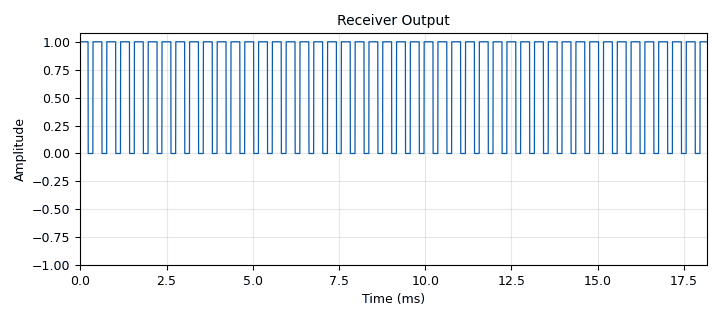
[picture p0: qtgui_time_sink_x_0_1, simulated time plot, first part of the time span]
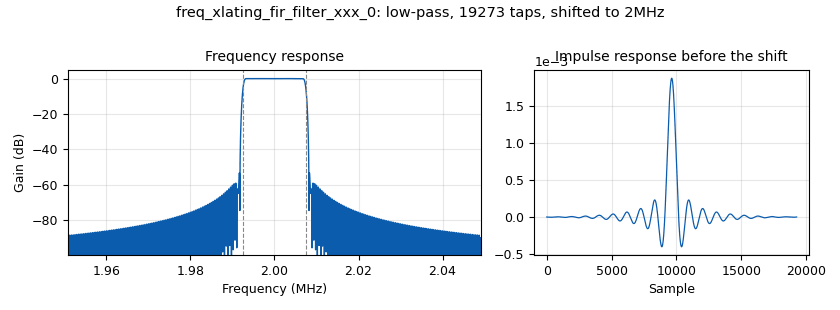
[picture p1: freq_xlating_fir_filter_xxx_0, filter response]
options:
  parameters:
    generate_options: qt_gui
    id: fsk_tx_rx
    output_language: python
    title: fsk transmission and receiver
  states: {}

blocks:
- name: center_freq
  id: variable
  parameters:
    value: 313e6
  states: {}
- name: filter_cutoff
  id: variable
  parameters:
    value: 75e2
  states: {}
- name: filter_transition
  id: variable
  parameters:
    value: 1e3
  states: {}
- name: freq
  id: variable_qtgui_entry
  parameters:
    type: raw
    value: 315e6
  states: {}
- name: fsk_deviation_hz
  id: variable_qtgui_range
  parameters:
    start: 1e3
    step: 5e3
    stop: 200e3
    value: 10e3
  states: {}
- name: gain
  id: variable
  parameters:
    value: 1e3
  states: {}
- name: samp_rate
  id: variable
  parameters:
    value: 8e6
  states: {}
- name: threshold
  id: variable_qtgui_entry
  parameters:
    type: raw
    value: '500e-3'
  states: {}
- name: working_samp_rate
  id: variable
  parameters:
    value: 400e3
  states: {}
- name: analog_frequency_modulator_fc_0
  id: analog_frequency_modulator_fc
  parameters:
    sensitivity: (2*math.pi*fsk_deviation_hz/2)/samp_rate
  states: {}
- name: analog_quadrature_demod_cf_0
  id: analog_quadrature_demod_cf
  parameters:
    gain: working_samp_rate/(2*math.pi*fsk_deviation_hz/2)
  states: {}
- name: analog_sig_source_x_0
  id: analog_sig_source_x
  parameters:
    amp: 1e3
    freq: 2e6
    offset: '0'
    phase: '0'
    samp_rate: samp_rate
    type: complex
    waveform: analog.GR_COS_WAVE
  states: {}
- name: blocks_add_const_vxx_0_0
  id: blocks_add_const_vxx
  parameters:
    const: '-1*threshold'
    type: float
  states: {}
- name: blocks_multiply_xx_0
  id: blocks_multiply_xx
  parameters:
    type: complex
  states: {}
- name: blocks_repeat_0
  id: blocks_repeat
  parameters:
    interp: '800'
    type: float
  states: {}
- name: blocks_throttle2_0
  id: blocks_throttle2
  parameters:
    samples_per_second: samp_rate
    type: complex
  states: {}
- name: blocks_uchar_to_float_0
  id: blocks_uchar_to_float
  parameters: {}
  states: {}
- name: blocks_vector_source_x_0
  id: blocks_vector_source_x
  parameters:
    repeat: 'True'
    type: float
    vector: (-1, 1, 1, 1, -1, 1, 1, 1)
  states: {}
- name: digital_binary_slicer_fb_0
  id: digital_binary_slicer_fb
  parameters: {}
  states: {}
- name: freq_xlating_fir_filter_xxx_0
  id: freq_xlating_fir_filter_xxx
  parameters:
    center_freq: 2e6
    decim: '20'
    samp_rate: samp_rate
    taps: firdes.low_pass(1, samp_rate, filter_cutoff, filter_transition)
    type: ccc
  states: {}
- name: import_0
  id: import
  parameters:
    imports: import math
  states: {}
- name: qtgui_time_sink_x_0
  id: qtgui_time_sink_x
  parameters:
    autoscale: 'True'
    grid: 'True'
    size: '16384'
    srate: samp_rate
    type: float
  states: {state: disabled}
- name: qtgui_time_sink_x_0_0
  id: qtgui_time_sink_x
  parameters:
    autoscale: 'True'
    grid: 'True'
    name: '"Demodulator Ouput"'
    size: '1024'
    srate: working_samp_rate
    type: float
  states: {state: disabled}
- name: qtgui_time_sink_x_0_1
  id: qtgui_time_sink_x
  parameters:
    ctrlpanel: 'True'
    name: '"Receiver Output"'
    size: '16384'
    srate: working_samp_rate
    type: float
  states: {}
- name: qtgui_time_sink_x_0_2
  id: qtgui_time_sink_x
  parameters:
    autoscale: 'True'
    ctrlpanel: 'True'
    grid: 'True'
    name: '"IQ Signals"'
    size: '16384'
    srate: samp_rate
    type: complex
  states: {state: disabled}
- name: qtgui_time_sink_x_0_2_0
  id: qtgui_time_sink_x
  parameters:
    autoscale: 'True'
    ctrlpanel: 'True'
    grid: 'True'
    size: '16384'
    srate: samp_rate
    type: complex
  states: {state: disabled}
- name: qtgui_waterfall_sink_x_0
  id: qtgui_waterfall_sink_x
  parameters:
    bw: samp_rate
    fc: '0'
    fftsize: '1024'
    name: '"Modulated Signal"'
    showports: 'True'
    type: complex
  states: {state: disabled}
- name: qtgui_waterfall_sink_x_0_0
  id: qtgui_waterfall_sink_x
  parameters:
    bw: working_samp_rate
    fc: '0'
    fftsize: '1024'
    name: '"Demodulated and Filtered"'
    showports: 'True'
    type: complex
  states: {state: disabled}
- name: virtual_sink_0
  id: virtual_sink
  parameters:
    stream_id: var
  states: {}
- name: virtual_sink_0_0
  id: virtual_sink
  parameters:
    stream_id: signal
  states: {}
- name: virtual_source_0
  id: virtual_source
  parameters:
    stream_id: var
  states: {}
- name: virtual_source_0_1
  id: virtual_source
  parameters:
    stream_id: signal
  states: {}

connections:
- [analog_frequency_modulator_fc_0, '0', blocks_multiply_xx_0, '0']
- [analog_frequency_modulator_fc_0, '0', qtgui_time_sink_x_0_2, '0']
- [analog_quadrature_demod_cf_0, '0', qtgui_time_sink_x_0_0, '0']
- [analog_quadrature_demod_cf_0, '0', virtual_sink_0_0, '0']
- [analog_sig_source_x_0, '0', blocks_throttle2_0, '0']
- [blocks_add_const_vxx_0_0, '0', digital_binary_slicer_fb_0, '0']
- [blocks_multiply_xx_0, '0', qtgui_time_sink_x_0_2_0, '0']
- [blocks_multiply_xx_0, '0', qtgui_waterfall_sink_x_0, '0']
- [blocks_multiply_xx_0, '0', virtual_sink_0, '0']
- [blocks_repeat_0, '0', analog_frequency_modulator_fc_0, '0']
- [blocks_repeat_0, '0', qtgui_time_sink_x_0, '0']
- [blocks_throttle2_0, '0', blocks_multiply_xx_0, '1']
- [blocks_uchar_to_float_0, '0', qtgui_time_sink_x_0_1, '0']
- [blocks_vector_source_x_0, '0', blocks_repeat_0, '0']
- [digital_binary_slicer_fb_0, '0', blocks_uchar_to_float_0, '0']
- [freq_xlating_fir_filter_xxx_0, '0', analog_quadrature_demod_cf_0, '0']
- [freq_xlating_fir_filter_xxx_0, '0', qtgui_waterfall_sink_x_0_0, '0']
- [virtual_source_0, '0', freq_xlating_fir_filter_xxx_0, '0']
- [virtual_source_0_1, '0', blocks_add_const_vxx_0_0, '0']

metadata:
  file_format: 1
  grc_version: 3.10.7.0
